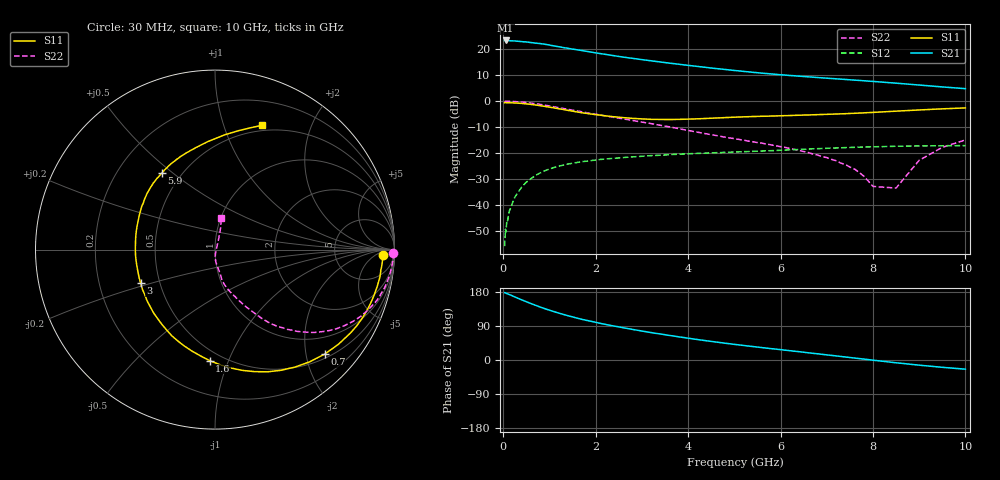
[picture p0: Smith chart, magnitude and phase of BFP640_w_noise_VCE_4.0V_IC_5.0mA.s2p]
! (c) 2013  Infineon Technologies AG, Munich
! Infineon Technologies  Discrete & RF Semiconductors
! BFP640
! VCE =  4.0 V,  IC =  5.0 mA
! Common Emitter S-Parameters:  Apr 2013
# GHz  S  MA  R  50
!  f  S11  S21  S12  S22
! GHz  MAG  ANG  MAG  ANG  MAG  ANG  MAG  ANG
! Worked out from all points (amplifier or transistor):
!   99 points, 30 MHz to 10 GHz, reference 50 ohm
!   highest |S21| = 23.4 dB at 50 MHz (marker M1)
!   |S21| within 3 dB of that: start of sweep to 1.393 GHz
!   unconditionally stable (mu >= 1): 4.888 GHz to end of sweep
!   at 350 MHz: K = 0.10, MSG = 28.7 dB, |S12| = -34.4 dB
!   at 3.5 GHz: K = 0.83, MSG = 17.8 dB, |S12| = -20.8 dB
!   at 10 GHz: K = 1.15, MAG = 8.6 dB, |S12| = -17.1 dB
!   lowest NFmin = 0.54 dB at 450 MHz
!   S11 on the Smith chart (normalised r, x): 30 MHz: 24, -12; 700 MHz: 0.59, -2.38; 1.6 GHz: 0.43, -0.86; 3 GHz: 0.39, -0.18; 5.9 GHz: 0.39, +0.46; 10 GHz: 0.44, +1.35
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0.03  0.9348 -1.9  14.68 177.6  0.0016 83.0  0.9927 -1.1
0.05  0.9357 -3.0  14.81 177.0  0.0034 87.1  0.9948 -1.8
0.25  0.9225 -15.8  14.5 166.5  0.014 81.1  0.9806 -9.1
0.4  0.9045 -25.2  14.09 158.8  0.022 76.3  0.9588 -14.5
0.5  0.8868 -31.5  13.87 153.8  0.0273 73.1  0.9415 -18.0
0.7  0.8442 -43.6  13.16 144.3  0.037 66.5  0.8939 -24.5
0.8  0.8181 -49.8  12.88 139.7  0.0414 63.3  0.8666 -27.5
1  0.7666 -61.3  12.07 131.4  0.0492 57.6  0.8074 -33.1
1.3  0.6896 -77.3  10.8 120.3  0.0585 50.2  0.7225 -39.7
1.6  0.6189 -92.8  9.793 110.5  0.0658 44.4  0.6469 -44.8
1.7  0.5975 -97.8  9.48 107.4  0.0681 42.7  0.6239 -46.1
2.3  0.5104 -125.6  7.759 91.8  0.078 34.2  0.504 -53.6
3  0.4548 -155.7  6.324 76.5  0.0866 27.4  0.395 -59.4
3.4  0.444 -172.0  5.691 68.6  0.0909 24.0  0.3427 -62.8
4.2  0.4564 160.2  4.679 54.1  0.0983 18.0  0.2528 -69.9
5.1  0.4943 138.3  3.832 39.8  0.1053 12.4  0.183 -76.4
5.9  0.5192 125.0  3.289 28.7  0.1121 8.3  0.1376 -77.9
6.7  0.546 113.1  2.903 17.7  0.1204 3.6  0.0957 -81.6
8  0.6073 92.6  2.402 -0.4  0.1318 -5.6  0.0227 -83.9
8.5  0.6417 85.2  2.224 -7.3  0.135 -9.4  0.0211 58.6
9  0.6767 78.6  2.046 -13.6  0.137 -12.9  0.0724 72.2
10  0.7412 69.2  1.742 -24.2  0.1391 -18.4  0.1787 79.0
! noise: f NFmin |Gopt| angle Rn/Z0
0.45  0.54  0.45  12  0.1
0.9  0.56  0.45  21  0.1
1.5  0.59  0.39  33  0.1
1.9  0.64  0.34  51  0.1
2.4  0.69  0.31  58  0.1
3.5  0.84  0.26  84  0.09
5.5  1.1  0.28  -156  0.11
10  1.81  0.63  -65  0.45
